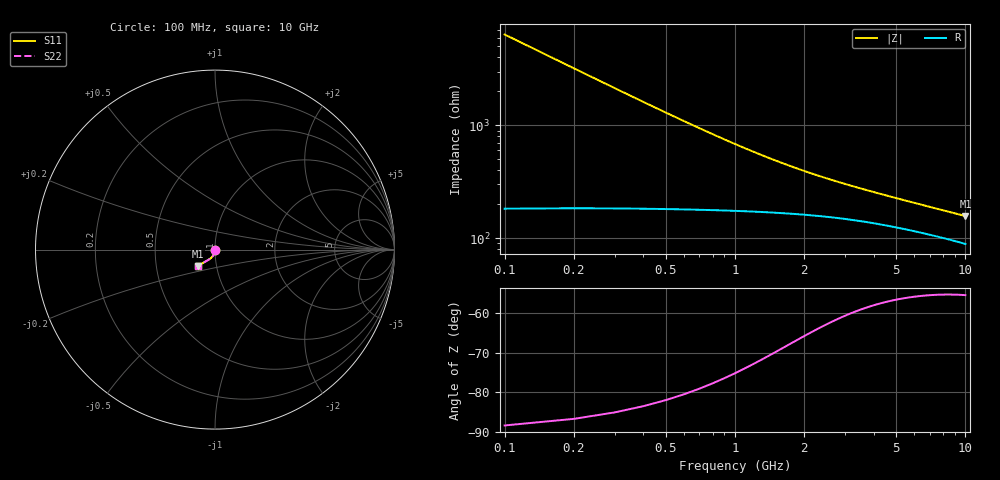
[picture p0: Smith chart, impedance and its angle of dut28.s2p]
! Touchstone file exported from HFSS 2024.1.0
!  File:  C:/UserFiles/LocalFiles/RDL_TSV_Batchsim/temp_TSV1_28_1778747494.aedt
!  Generated:  04:36:44 PM May 14, 2026
!  Design:  TSV1
!  Project:  temp_TSV1_28_1778747494
!  Setup:  Setup1
!  Solution:  Sweep
! Variables:
!  dtsv = 22.26um
!  hbump = 3um
!  htsv = 92.93um
!  lrdl = 252.1521522um
!  p = 40
!  p1 = 48.95um
!  t = 500um
!  trdl = 3um
!  wrdl = 24.89489489um
# GHz S MA R 50.000000
! Terminal data exported
! Port[1] = TSV22_T1
! Port[2] = TSV22_T2
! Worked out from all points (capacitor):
!   100 points, 100 MHz to 10 GHz, reference 50 ohm
!   read as one part in shunt: C = 249 fF near 100 MHz
!   lowest |Z| = 157 ohm at 10 GHz (marker M1)
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0.1  0.003646 -90.6  0.9998 -0.2  0.9998 -0.2  0.003646 -90.6
! Gamma 0 0 0 0
! Port Impedance 50 0 50 0
0.2  0.007278 -93.2  0.9994 -0.5  0.9994 -0.5  0.007278 -93.2
0.3  0.01088 -95.2  0.9988 -0.7  0.9988 -0.7  0.01088 -95.2
0.4  0.01444 -97.2  0.998 -0.9  0.998 -0.9  0.01444 -97.2
0.5  0.01794 -99.0  0.9969 -1.2  0.9969 -1.2  0.01794 -99.0
0.6  0.02135 -100.7  0.9957 -1.4  0.9957 -1.4  0.02135 -100.7
0.7  0.02468 -102.4  0.9944 -1.6  0.9944 -1.6  0.02468 -102.4
0.8  0.0279 -104.1  0.9929 -1.8  0.9929 -1.8  0.0279 -104.1
0.9  0.03102 -105.6  0.9914 -1.9  0.9914 -1.9  0.03102 -105.6
1.1  0.03691 -108.6  0.9881 -2.3  0.9881 -2.3  0.03691 -108.6
1.4  0.0449 -112.5  0.9829 -2.7  0.9829 -2.7  0.0449 -112.5
1.6  0.04967 -114.8  0.9795 -3.0  0.9795 -3.0  0.04967 -114.8
1.8  0.05404 -116.8  0.9761 -3.2  0.9761 -3.2  0.05404 -116.8
2.1  0.05993 -119.5  0.9712 -3.5  0.9712 -3.5  0.05993 -119.5
2.5  0.06677 -122.4  0.9652 -3.9  0.9652 -3.9  0.06677 -122.4
2.9  0.07271 -124.7  0.9599 -4.2  0.9599 -4.2  0.07271 -124.7
3.4  0.0792 -126.9  0.954 -4.6  0.954 -4.6  0.0792 -126.9
4.2  0.08813 -129.4  0.946 -5.1  0.946 -5.1  0.08813 -129.4
5.1  0.09678 -131.4  0.9385 -5.6  0.9385 -5.6  0.09678 -131.4
6.7  0.1098 -133.6  0.9277 -6.4  0.9277 -6.4  0.1098 -133.6
8.4  0.1215 -135.1  0.9184 -7.2  0.9184 -7.2  0.1215 -135.1
10  0.1312 -136.0  0.9113 -7.9  0.9113 -7.9  0.1312 -136.0
